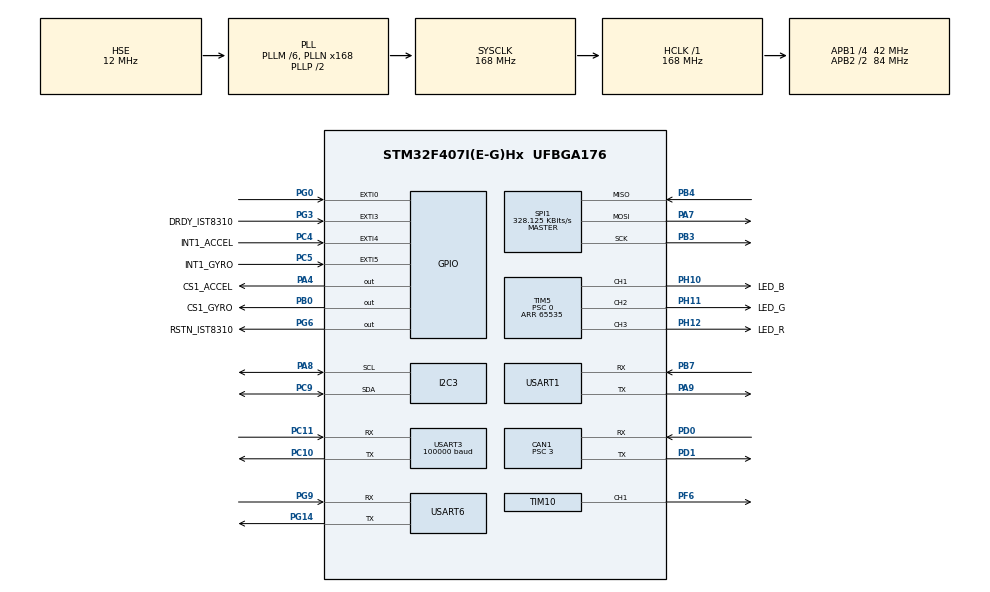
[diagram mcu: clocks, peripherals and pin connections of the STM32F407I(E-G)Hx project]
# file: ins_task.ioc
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CAN1.ABOM=ENABLE
CAN1.AWUM=ENABLE
CAN1.BS1=CAN_BS1_9TQ
CAN1.BS2=CAN_BS2_4TQ
CAN1.CalculateBaudRate=1000000
CAN1.CalculateTimeBit=1000
CAN1.CalculateTimeQuantum=71.42857142857143
CAN1.Prescaler=3
CAN1.TXFP=ENABLE
Dma.Request0=SPI1_RX
Dma.Request1=SPI1_TX
Dma.Request2=USART3_RX
Dma.Request3=USART1_RX
Dma.Request4=USART1_TX
Dma.SPI1_RX.0.Direction=DMA_PERIPH_TO_MEMORY
Dma.SPI1_RX.0.FIFOMode=DMA_FIFOMODE_DISABLE
Dma.SPI1_RX.0.Instance=DMA2_Stream2
Dma.SPI1_RX.0.MemDataAlignment=DMA_MDATAALIGN_BYTE
Dma.SPI1_RX.0.MemInc=DMA_MINC_ENABLE
Dma.SPI1_RX.0.Mode=DMA_NORMAL
Dma.SPI1_RX.0.PeriphDataAlignment=DMA_PDATAALIGN_BYTE
Dma.SPI1_RX.0.PeriphInc=DMA_PINC_DISABLE
Dma.SPI1_RX.0.Priority=DMA_PRIORITY_VERY_HIGH
Dma.SPI1_TX.1.Direction=DMA_MEMORY_TO_PERIPH
Dma.SPI1_TX.1.FIFOMode=DMA_FIFOMODE_DISABLE
Dma.SPI1_TX.1.Instance=DMA2_Stream3
Dma.SPI1_TX.1.MemDataAlignment=DMA_MDATAALIGN_BYTE
Dma.SPI1_TX.1.MemInc=DMA_MINC_ENABLE
Dma.SPI1_TX.1.Mode=DMA_NORMAL
Dma.SPI1_TX.1.PeriphDataAlignment=DMA_PDATAALIGN_BYTE
Dma.SPI1_TX.1.PeriphInc=DMA_PINC_DISABLE
Dma.SPI1_TX.1.Priority=DMA_PRIORITY_HIGH
Dma.USART1_RX.3.Direction=DMA_PERIPH_TO_MEMORY
Dma.USART1_RX.3.FIFOMode=DMA_FIFOMODE_DISABLE
Dma.USART1_RX.3.Instance=DMA2_Stream5
Dma.USART1_RX.3.MemDataAlignment=DMA_MDATAALIGN_BYTE
Dma.USART1_RX.3.MemInc=DMA_MINC_ENABLE
Dma.USART1_RX.3.Mode=DMA_CIRCULAR
Dma.USART1_RX.3.PeriphDataAlignment=DMA_PDATAALIGN_BYTE
Dma.USART1_RX.3.PeriphInc=DMA_PINC_DISABLE
Dma.USART1_RX.3.Priority=DMA_PRIORITY_LOW
Dma.USART1_TX.4.Direction=DMA_MEMORY_TO_PERIPH
Dma.USART1_TX.4.FIFOMode=DMA_FIFOMODE_DISABLE
Dma.USART1_TX.4.Instance=DMA2_Stream7
Dma.USART1_TX.4.MemDataAlignment=DMA_MDATAALIGN_BYTE
Dma.USART1_TX.4.MemInc=DMA_MINC_ENABLE
Dma.USART1_TX.4.Mode=DMA_NORMAL
Dma.USART1_TX.4.PeriphDataAlignment=DMA_PDATAALIGN_BYTE
Dma.USART1_TX.4.PeriphInc=DMA_PINC_DISABLE
Dma.USART1_TX.4.Priority=DMA_PRIORITY_LOW
Dma.USART3_RX.2.Direction=DMA_PERIPH_TO_MEMORY
Dma.USART3_RX.2.FIFOMode=DMA_FIFOMODE_DISABLE
Dma.USART3_RX.2.Instance=DMA1_Stream1
Dma.USART3_RX.2.MemDataAlignment=DMA_MDATAALIGN_BYTE
Dma.USART3_RX.2.MemInc=DMA_MINC_ENABLE
Dma.USART3_RX.2.Mode=DMA_CIRCULAR
Dma.USART3_RX.2.PeriphDataAlignment=DMA_PDATAALIGN_BYTE
Dma.USART3_RX.2.PeriphInc=DMA_PINC_DISABLE
Dma.USART3_RX.2.Priority=DMA_PRIORITY_HIGH
FREERTOS.INCLUDE_eTaskGetState=1
FREERTOS.INCLUDE_pcTaskGetTaskName=1
FREERTOS.INCLUDE_uxTaskGetStackHighWaterMark=1
FREERTOS.INCLUDE_vTaskCleanUpResources=1
FREERTOS.INCLUDE_vTaskDelayUntil=1
FREERTOS.INCLUDE_xEventGroupSetBitFromISR=1
FREERTOS.INCLUDE_xQueueGetMutexHolder=1
FREERTOS.INCLUDE_xSemaphoreGetMutexHolder=1
FREERTOS.INCLUDE_xTaskAbortDelay=1
FREERTOS.INCLUDE_xTaskGetCurrentTaskHandle=1
FREERTOS.INCLUDE_xTaskGetHandle=1
FREERTOS.INCLUDE_xTimerPendFunctionCall=1
FREERTOS.Tasks01=test,0,128,test_task,As weak,NULL,Dynamic,NULL,NULL;CONTROL,0,512,my_control,As weak,NULL,Dynamic,NULL,NULL
FREERTOS.configENABLE_FPU=1
FREERTOS.configTOTAL_HEAP_SIZE=24576
I2C3.I2C_Mode=I2C_Fast
Mcu.Family=STM32F4
Mcu.Name=STM32F407I(E-G)Hx
Mcu.Package=UFBGA176
NVIC.CAN1_RX0_IRQn=true\:5\:0\:false\:false\:true\:true\:true\:true\:true
NVIC.DMA1_Stream1_IRQn=true\:5\:0\:false\:false\:true\:true\:false\:true\:true
NVIC.DMA2_Stream2_IRQn=true\:5\:0\:true\:false\:false\:true\:false\:true\:true
NVIC.DMA2_Stream3_IRQn=true\:5\:0\:true\:false\:false\:true\:false\:true\:true
NVIC.DMA2_Stream5_IRQn=true\:5\:0\:false\:false\:true\:true\:false\:true\:true
NVIC.DMA2_Stream7_IRQn=true\:5\:0\:false\:false\:true\:true\:false\:true\:true
NVIC.EXTI0_IRQn=true\:6\:0\:true\:false\:true\:true\:true\:true\:true
NVIC.EXTI3_IRQn=true\:5\:0\:true\:false\:true\:true\:true\:true\:true
NVIC.EXTI4_IRQn=true\:5\:0\:true\:false\:true\:true\:true\:true\:true
NVIC.EXTI9_5_IRQn=true\:5\:0\:true\:false\:true\:true\:true\:true\:true
NVIC.PriorityGroup=NVIC_PRIORITYGROUP_4
NVIC.TIM2_IRQn=true\:15\:0\:false\:false\:true\:false\:false\:true\:true
NVIC.TimeBase=TIM2_IRQn
NVIC.TimeBaseIP=TIM2
NVIC.USART1_IRQn=true\:5\:0\:false\:false\:true\:true\:true\:true\:true
NVIC.USART3_IRQn=true\:5\:0\:false\:false\:true\:true\:true\:true\:true
PA13.Mode=Serial_Wire
PA13.Signal=SYS_JTMS-SWDIO
PA14.Mode=Serial_Wire
PA14.Signal=SYS_JTCK-SWCLK
PA4.GPIO_Label=CS1_ACCEL
PA4.GPIO_PuPd=GPIO_PULLUP
PA4.GPIO_Speed=GPIO_SPEED_FREQ_HIGH
PA4.PinState=GPIO_PIN_SET
PA4.Signal=GPIO_Output
PA7.GPIO_PuPd=GPIO_PULLUP
PA7.Mode=Full_Duplex_Master
PA7.Signal=SPI1_MOSI
PA8.GPIO_Pu=GPIO_PULLUP
PA8.Mode=I2C
PA8.Signal=I2C3_SCL
PA9.Mode=Asynchronous
PA9.Signal=USART1_TX
PB0.GPIO_Label=CS1_GYRO
PB0.GPIO_PuPd=GPIO_PULLUP
PB0.GPIO_Speed=GPIO_SPEED_FREQ_HIGH
PB0.PinState=GPIO_PIN_SET
PB0.Signal=GPIO_Output
PB3.GPIO_PuPd=GPIO_PULLUP
PB3.Mode=Full_Duplex_Master
PB3.Signal=SPI1_SCK
PB4.GPIO_PuPd=GPIO_PULLUP
PB4.Mode=Full_Duplex_Master
PB4.Signal=SPI1_MISO
PB7.Mode=Asynchronous
PB7.Signal=USART1_RX
PC10.Mode=Asynchronous
PC10.Signal=USART3_TX
PC11.Mode=Asynchronous
PC11.Signal=USART3_RX
PC4.GPIO_Label=INT1_ACCEL
PC4.GPIO_ModeDefaultEXTI=GPIO_MODE_IT_FALLING
PC4.GPIO_PuPd=GPIO_PULLUP
PC4.Signal=GPXTI4
PC5.GPIO_Label=INT1_GYRO
PC5.GPIO_ModeDefaultEXTI=GPIO_MODE_IT_FALLING
PC5.GPIO_PuPd=GPIO_PULLUP
PC5.Signal=GPXTI5
PC9.GPIO_Pu=GPIO_PULLUP
PC9.Mode=I2C
PC9.Signal=I2C3_SDA
PD0.Mode=CAN_Activate
PD0.Signal=CAN1_RX
PD1.Mode=CAN_Activate
PD1.Signal=CAN1_TX
PF6.GPIO_PuPd=GPIO_PULLUP
PF6.GPIO_Speed=GPIO_SPEED_FREQ_HIGH
PF6.Signal=S_TIM10_CH1
PG0.GPIO_ModeDefaultEXTI=GPIO_MODE_IT_FALLING
PG0.GPIO_PuPd=GPIO_PULLUP
PG0.Signal=GPXTI0
PG14.Mode=Asynchronous
PG14.Signal=USART6_TX
PG3.GPIO_Label=DRDY_IST8310
PG3.GPIO_ModeDefaultEXTI=GPIO_MODE_IT_FALLING
PG3.GPIO_PuPd=GPIO_PULLUP
PG3.Signal=GPXTI3
PG6.GPIO_Label=RSTN_IST8310
PG6.GPIO_PuPd=GPIO_PULLUP
PG6.GPIO_Speed=GPIO_SPEED_FREQ_MEDIUM
PG6.PinState=GPIO_PIN_SET
PG6.Signal=GPIO_Output
PG9.Mode=Asynchronous
PG9.Signal=USART6_RX
PH0-OSC_IN.Mode=HSE-External-Oscillator
PH0-OSC_IN.Signal=RCC_OSC_IN
PH1-OSC_OUT.Mode=HSE-External-Oscillator
PH1-OSC_OUT.Signal=RCC_OSC_OUT
PH10.GPIO_Label=LED_B
PH10.GPIO_PuPd=GPIO_PULLUP
PH10.GPIO_Speed=GPIO_SPEED_FREQ_HIGH
PH10.Signal=S_TIM5_CH1
PH11.GPIO_Label=LED_G
PH11.GPIO_PuPd=GPIO_PULLUP
PH11.GPIO_Speed=GPIO_SPEED_FREQ_HIGH
PH11.Signal=S_TIM5_CH2
PH12.GPIO_Label=LED_R
PH12.GPIO_PuPd=GPIO_PULLUP
PH12.GPIO_Speed=GPIO_SPEED_FREQ_HIGH
PH12.Signal=S_TIM5_CH3
ProjectManager.HeapSize=0x2000
ProjectManager.StackSize=0x2000
ProjectManager.TargetToolchain=MDK-ARM V5
RCC.48MHZClocksFreq_Value=48000000
RCC.AHBFreq_Value=168000000
RCC.APB1CLKDivider=RCC_HCLK_DIV4
RCC.APB1Freq_Value=42000000
RCC.APB1TimFreq_Value=84000000
RCC.APB2CLKDivider=RCC_HCLK_DIV2
RCC.APB2Freq_Value=84000000
RCC.APB2TimFreq_Value=168000000
RCC.CortexFreq_Value=168000000
RCC.HCLKFreq_Value=168000000
RCC.HSE_VALUE=12000000
RCC.HSI_VALUE=16000000
RCC.LSE_VALUE=32768
RCC.PLLM=6
RCC.PLLN=168
RCC.PLLQ=7
RCC.PLLSourceVirtual=RCC_PLLSOURCE_HSE
RCC.RCC_RTC_Clock_SourceVirtual=RCC_RTCCLKSOURCE_HSE_DIV30
RCC.RCC_RTC_Clock_Source_FROM_HSE=RCC_RTCCLKSOURCE_HSE_DIV30
RCC.SYSCLKFreq_VALUE=168000000
RCC.SYSCLKSource=RCC_SYSCLKSOURCE_PLLCLK
RCC.VCOOutputFreq_Value=336000000
SH.S_TIM10_CH1.0=TIM10_CH1,PWM Generation1 CH1
SH.S_TIM5_CH1.0=TIM5_CH1,PWM Generation1 CH1
SH.S_TIM5_CH2.0=TIM5_CH2,PWM Generation2 CH2
SH.S_TIM5_CH3.0=TIM5_CH3,PWM Generation3 CH3
SPI1.BaudRatePrescaler=SPI_BAUDRATEPRESCALER_256
SPI1.CLKPhase=SPI_PHASE_2EDGE
SPI1.CLKPolarity=SPI_POLARITY_HIGH
SPI1.CalculateBaudRate=328.125 KBits/s
SPI1.Direction=SPI_DIRECTION_2LINES
SPI1.Mode=SPI_MODE_MASTER
SPI1.VirtualType=VM_MASTER
TIM10.Channel=TIM_CHANNEL_1
TIM10.Period=4999
TIM5.Channel-PWM\ Generation1\ CH1=TIM_CHANNEL_1
TIM5.Channel-PWM\ Generation2\ CH2=TIM_CHANNEL_2
TIM5.Channel-PWM\ Generation3\ CH3=TIM_CHANNEL_3
TIM5.Period=65535
TIM5.Prescaler=0
USART1.VirtualMode=VM_ASYNC
USART3.BaudRate=100000
USART3.Parity=PARITY_EVEN
USART3.StopBits=STOPBITS_2
USART3.VirtualMode=VM_ASYNC
USART3.WordLength=WORDLENGTH_9B
USART6.VirtualMode=VM_ASYNC
VP_FREERTOS_VS_CMSIS_V1.Mode=CMSIS_V1
VP_SYS_VS_tim2.Mode=TIM2
VP_TIM10_VS_ClockSourceINT.Mode=Enable_Timer
VP_TIM5_VS_ClockSourceINT.Mode=Internal
board=custom

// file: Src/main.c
/* USER CODE BEGIN Header */
/**
  ******************************************************************************
  * @file           : main.c
  * @brief          : Main program body
  ******************************************************************************
  * @attention
  *
  * <h2><center>&copy; Copyright (c) 2019 STMicroelectronics.
  * All rights reserved.</center></h2>
  *
  * This software component is licensed by ST under Ultimate Liberty license
  * SLA0044, the "License"; You may not use this file except in compliance with
  * the License. You may obtain a copy of the License at:
  *                             www.st.com/SLA0044
  *
  ******************************************************************************
  */
/* USER CODE END Header */
#include "main.h"
#include "cmsis_os.h"
#include "can.h"
#include "dma.h"
#include "i2c.h"
#include "spi.h"
#include "tim.h"
#include "usart.h"
#include "gpio.h"

/* USER CODE BEGIN Includes */
#include "bsp_delay.h"
#include "drv_can.h"
#include "dev_all.h"
#include "drv_uart.h"
/* USER CODE END Includes */

void SystemClock_Config(void);
void MX_FREERTOS_Init(void);

int main(void)
{

  /* MCU Configuration--------------------------------------------------------*/

  /* Reset of all peripherals, Initializes the Flash interface and the Systick. */
  HAL_Init();

  /* Configure the system clock */
  SystemClock_Config();

  /* Initialize all configured peripherals */
  MX_GPIO_Init();
  MX_DMA_Init();
  MX_SPI1_Init();
  MX_TIM5_Init();
  MX_I2C3_Init();
  MX_TIM10_Init();
  MX_CAN1_Init();
  MX_USART1_UART_Init();
  MX_USART3_UART_Init();
  MX_USART6_UART_Init();
  /* USER CODE BEGIN 2 */
  delay_init();
	CAN1_Init();
	USART3_Init();
	My_Device_Init();
  /* USER CODE END 2 */

  /* Call init function for freertos objects (in freertos.c) */
  MX_FREERTOS_Init();

  /* Start scheduler */
  osKernelStart();

  /* We should never get here as control is now taken by the scheduler */
  /* Infinite loop */
  while (1)
  {

  }
}

void SystemClock_Config(void)
{
  RCC_OscInitTypeDef RCC_OscInitStruct = {0};
  RCC_ClkInitTypeDef RCC_ClkInitStruct = {0};

  /** Configure the main internal regulator output voltage
  */
  __HAL_RCC_PWR_CLK_ENABLE();
  __HAL_PWR_VOLTAGESCALING_CONFIG(PWR_REGULATOR_VOLTAGE_SCALE1);

  /** Initializes the RCC Oscillators according to the specified parameters
  * in the RCC_OscInitTypeDef structure.
  */
  RCC_OscInitStruct.OscillatorType = RCC_OSCILLATORTYPE_HSE;
  RCC_OscInitStruct.HSEState = RCC_HSE_ON;
  RCC_OscInitStruct.PLL.PLLState = RCC_PLL_ON;
  RCC_OscInitStruct.PLL.PLLSource = RCC_PLLSOURCE_HSE;
  RCC_OscInitStruct.PLL.PLLM = 6;
  RCC_OscInitStruct.PLL.PLLN = 168;
  RCC_OscInitStruct.PLL.PLLP = RCC_PLLP_DIV2;
  RCC_OscInitStruct.PLL.PLLQ = 7;
  if (HAL_RCC_OscConfig(&RCC_OscInitStruct) != HAL_OK)
  {
    Error_Handler();
  }

  /** Initializes the CPU, AHB and APB buses clocks
  */
  RCC_ClkInitStruct.ClockType = RCC_CLOCKTYPE_HCLK|RCC_CLOCKTYPE_SYSCLK
                              |RCC_CLOCKTYPE_PCLK1|RCC_CLOCKTYPE_PCLK2;
  RCC_ClkInitStruct.SYSCLKSource = RCC_SYSCLKSOURCE_PLLCLK;
  RCC_ClkInitStruct.AHBCLKDivider = RCC_SYSCLK_DIV1;
  RCC_ClkInitStruct.APB1CLKDivider = RCC_HCLK_DIV4;
  RCC_ClkInitStruct.APB2CLKDivider = RCC_HCLK_DIV2;

  if (HAL_RCC_ClockConfig(&RCC_ClkInitStruct, FLASH_LATENCY_5) != HAL_OK)
  {
    Error_Handler();
  }
}

void HAL_TIM_PeriodElapsedCallback(TIM_HandleTypeDef *htim)
{
  if (htim->Instance == TIM2) {
    HAL_IncTick();
  }
}

void Error_Handler(void)
{
}

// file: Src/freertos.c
/* USER CODE BEGIN Header */
/**
  ******************************************************************************
  * File Name          : freertos.c
  * Description        : Code for freertos applications
  ******************************************************************************
  * @attention
  *
  * <h2><center>&copy; Copyright (c) 2019 STMicroelectronics.
  * All rights reserved.</center></h2>
  *
  * This software component is licensed by ST under Ultimate Liberty license
  * SLA0044, the "License"; You may not use this file except in compliance with
  * the License. You may obtain a copy of the License at:
  *                             www.st.com/SLA0044
  *
  ******************************************************************************
  */
/* USER CODE END Header */

#include "FreeRTOS.h"
#include "task.h"
#include "main.h"
#include "cmsis_os.h"

/* USER CODE BEGIN Includes */

#include "INS_task.h"
#include "led_flow_task.h"

/* USER CODE END Includes */

/* USER CODE BEGIN PTD */

osThreadId imuTaskHandle;
osThreadId led_RGB_flow_handle;
/* USER CODE END PTD */

osThreadId testHandle;
osThreadId CONTROLHandle;

void test_task(void const * argument);
void my_control(void const * argument);

void MX_FREERTOS_Init(void); /* (MISRA C 2004 rule 8.1) */

/* GetIdleTaskMemory prototype (linked to static allocation support) */
void vApplicationGetIdleTaskMemory( StaticTask_t **ppxIdleTaskTCBBuffer, StackType_t **ppxIdleTaskStackBuffer, uint32_t *pulIdleTaskStackSize );

/* GetTimerTaskMemory prototype (linked to static allocation support) */
void vApplicationGetTimerTaskMemory( StaticTask_t **ppxTimerTaskTCBBuffer, StackType_t **ppxTimerTaskStackBuffer, uint32_t *pulTimerTaskStackSize );

/* USER CODE BEGIN GET_IDLE_TASK_MEMORY */
static StaticTask_t xIdleTaskTCBBuffer;
static StackType_t xIdleStack[configMINIMAL_STACK_SIZE];

void vApplicationGetIdleTaskMemory( StaticTask_t **ppxIdleTaskTCBBuffer, StackType_t **ppxIdleTaskStackBuffer, uint32_t *pulIdleTaskStackSize )
{
  *ppxIdleTaskTCBBuffer = &xIdleTaskTCBBuffer;
  *ppxIdleTaskStackBuffer = &xIdleStack[0];
  *pulIdleTaskStackSize = configMINIMAL_STACK_SIZE;
  /* place for user code */
}
/* USER CODE END GET_IDLE_TASK_MEMORY */

/* USER CODE BEGIN GET_TIMER_TASK_MEMORY */
static StaticTask_t xTimerTaskTCBBuffer;
static StackType_t xTimerStack[configTIMER_TASK_STACK_DEPTH];

void vApplicationGetTimerTaskMemory( StaticTask_t **ppxTimerTaskTCBBuffer, StackType_t **ppxTimerTaskStackBuffer, uint32_t *pulTimerTaskStackSize )
{
  *ppxTimerTaskTCBBuffer = &xTimerTaskTCBBuffer;
  *ppxTimerTaskStackBuffer = &xTimerStack[0];
  *pulTimerTaskStackSize = configTIMER_TASK_STACK_DEPTH;
  /* place for user code */
}
/* USER CODE END GET_TIMER_TASK_MEMORY */

void MX_FREERTOS_Init(void) {

  /* Create the thread(s) */
  /* definition and creation of test */
  osThreadDef(test, test_task, osPriorityNormal, 0, 128);
  testHandle = osThreadCreate(osThread(test), NULL);

  /* definition and creation of CONTROL */
  osThreadDef(CONTROL, my_control, osPriorityNormal, 0, 512);
  CONTROLHandle = osThreadCreate(osThread(CONTROL), NULL);

  /* USER CODE BEGIN RTOS_THREADS */
  /* add threads, ... */
    osThreadDef(imuTask, INS_task, osPriorityRealtime, 0, 1024);
    imuTaskHandle = osThreadCreate(osThread(imuTask), NULL);

    osThreadDef(led, led_RGB_flow_task, osPriorityNormal, 0, 256);
    led_RGB_flow_handle = osThreadCreate(osThread(led), NULL);
  /* USER CODE END RTOS_THREADS */

}

__weak void test_task(void const * argument)
{
  for(;;)
  {
    osDelay(1);
  }
}

__weak void my_control(void const * argument)
{
  for(;;)
  {
    osDelay(1);
  }
}
